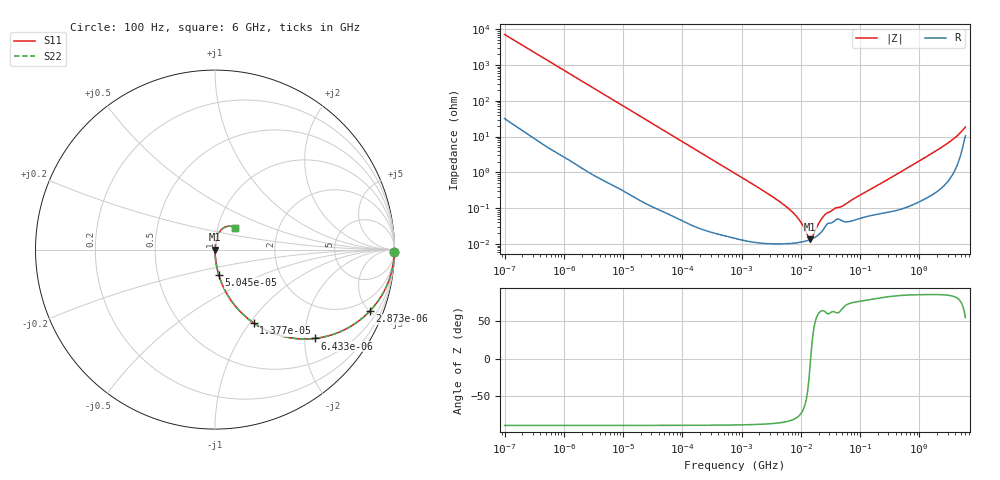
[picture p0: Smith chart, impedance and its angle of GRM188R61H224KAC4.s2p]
!Murata Part Number: GRM188R61H224KAC4
!These Parameters are Measured in Series Mode Connection
!Data Generated on Mar 30, 2021
!  o--ll--o
!Port1  Port2
!  o------o
!Operation Temp=25[degC], DC Bias Voltage=0[V]
!Freq. Start=100[Hz] Stop=6[GHz] 401[Steps]
# Hz S RI R 50
!Freq.(Hz) S11(Real) S11(Imag) S21(Real) S21(Imag) S12(Real) S12(Imag) S22(Real) S22(Imag)
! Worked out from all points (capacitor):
!   401 points, 100 Hz to 6 GHz, reference 50 ohm
!   read as one part in series: C = 223 nF near 109 Hz
!   lowest |Z| = 13.5 mohm at 14.22 MHz (marker M1)
!   series resonance near 14.67 MHz, so ESL is about 530 pH
!   S11 on the Smith chart (normalised r, x): 100 Hz: open; 2.873 kHz: 1.02, -5.00; 6.433 kHz: 1.01, -2.24; 13.77 kHz: 1.00, -1.05; 50.45 kHz: 1.00, -0.29; 6 GHz: 1.21, +0.30
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100  0.9997 -0.014  0.00026 0.014  0.00026 0.014  0.9997 -0.014
600  0.9927 -0.0832  0.00728 0.0832  0.00728 0.0832  0.9927 -0.0832
2008  0.9265 -0.2591  0.0735 0.2591  0.0735 0.2591  0.9265 -0.2591
2873  0.8611 -0.3441  0.1389 0.3441  0.1389 0.3441  0.8611 -0.3441
6433  0.5554 -0.4949  0.4446 0.4949  0.4446 0.4949  0.5554 -0.4949
13772  0.2161 -0.4094  0.7839 0.4094  0.7839 0.4094  0.2161 -0.4094
22537  0.0941 -0.2897  0.9059 0.2897  0.9059 0.2897  0.0941 -0.2897
40335  0.0319 -0.1733  0.9681 0.1733  0.9681 0.1733  0.0319 -0.1733
50455  0.0208 -0.1403  0.9792 0.1403  0.9792 0.1403  0.0208 -0.1403
147774  0.00273 -0.049  0.9973 0.049  0.9973 0.049  0.00273 -0.049
774597  0.000231 -0.0094  0.9998 0.0094  0.9998 0.0094  0.000231 -0.0094
3103719  0.000106 -0.00226  0.9999 0.00226  0.9999 0.00226  0.000106 -0.00226
6353432  0.000104 -0.000939  0.9999 0.000939  0.9999 0.000939  0.000104 -0.000939
9506416  0.000111 -0.000449  0.9999 0.000449  0.9999 0.000449  0.000111 -0.000449
1.422411e7  0.000132 -3.1e-05  0.9999 3.1e-05  0.9999 3.1e-05  0.000132 -3.1e-05
1.555665e7  0.00014 6.01e-05  0.9999 -6.01e-05  0.9999 -6.01e-05  0.00014 6.01e-05
2.128304e7  0.000199 0.000394  0.9998 -0.000394  0.9998 -0.000394  0.000199 0.000394
2.662322e7  0.000332 0.00062  0.9997 -0.00062  0.9997 -0.00062  0.000332 0.00062
3.124326e8  0.000822 0.00666  0.9992 -0.00666  0.9992 -0.00666  0.000822 0.00666
2.450438e9  0.00645 0.0513  0.9936 -0.0513  0.9936 -0.0513  0.00645 0.0513
4.385646e9  0.0264 0.1007  0.9736 -0.1007  0.9736 -0.1007  0.0264 0.1007
6e9  0.1121 0.1217  0.8879 -0.1217  0.8879 -0.1217  0.1121 0.1217
